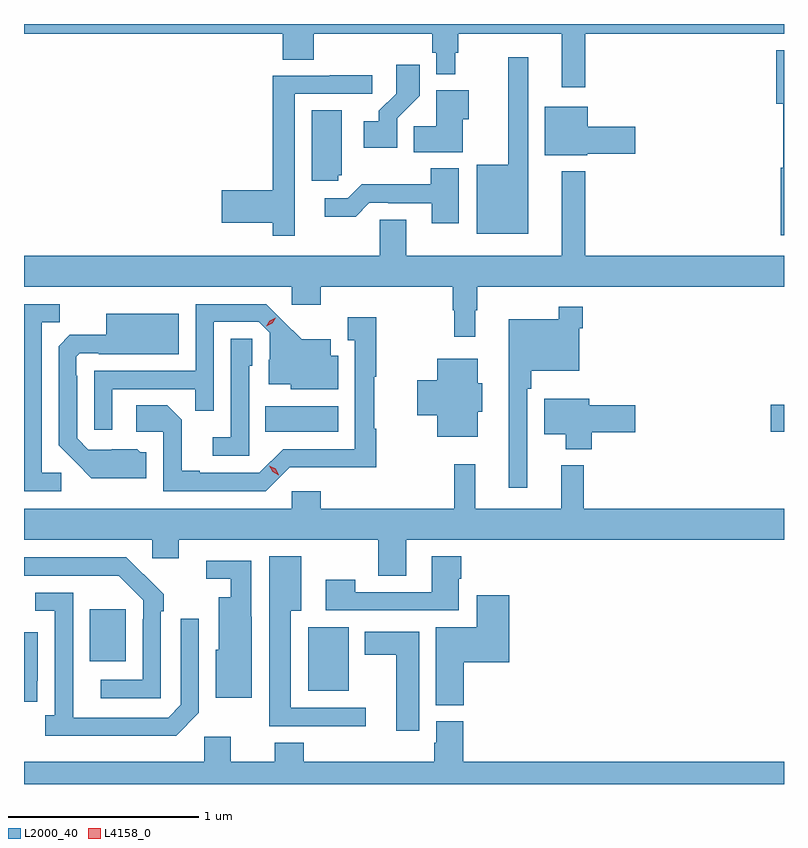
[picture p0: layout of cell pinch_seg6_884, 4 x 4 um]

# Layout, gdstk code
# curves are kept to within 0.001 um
import gdstk
lib = gdstk.Library(unit=1e-6, precision=1e-09)
def R(c, l, rs):  # rectangles x0, y0, x1, y1
    for r in rs: c.add(gdstk.rectangle(r[:2], r[2:], *l))
def P(c, l, *ps):  # polygons
    for p in ps: c.add(gdstk.Polygon(p, *l))
L2000_40 = (2000, 40)
L4158_0 = (4158, 0)

pinch_seg6_884 = lib.new_cell('pinch_seg6_884')
R(pinch_seg6_884, L2000_40, [(346.94,933.221,347.152,933.556), (345.791,933.377,345.979,933.652), (349.374,934.585,349.444,934.727), (346.714,934.586,347.098,934.72)])
P(pinch_seg6_884, L2000_40, [(348.397,936.68),(349.444,936.68),(349.444,936.731),(345.444,936.731),(345.444,936.68),(346.805,936.68),(346.805,936.544),(346.97,936.544),(346.97,936.68),(347.593,936.68),(347.593,936.579),(347.613,936.579),(347.613,936.467),(347.714,936.467),(347.714,936.579),(347.729,936.579),(347.729,936.68),(348.275,936.68),(348.275,936.399),(348.397,936.399)],
  [(349.444,936.592),(349.403,936.592),(349.403,936.312),(349.439,936.312),(349.439,935.974),(349.427,935.974),(349.427,935.619),(349.444,935.619)],
  [(348.097,936.556),(347.993,936.556),(347.993,935.989),(347.828,935.989),(347.828,935.627),(348.097,935.627)],
  [(347.409,936.235),(347.528,936.354),(347.528,936.517),(347.403,936.517),(347.403,936.365),(347.312,936.275),(347.312,936.22),(347.232,936.22),(347.232,936.08),(347.409,936.08)],
  [(346.87,935.838),(346.869,935.838),(346.869,936.363),(347.278,936.363),(347.278,936.462),(347.053,936.462),(347.053,936.459),(346.753,936.459),(346.753,935.855),(346.485,935.855),(346.485,935.684),(346.753,935.684),(346.753,935.616),(346.87,935.616)],
  [(347.752,936.23),(347.785,936.23),(347.785,936.382),(347.615,936.382),(347.615,936.194),(347.494,936.194),(347.494,936.056),(347.752,936.056)],
  [(348.408,936.047),(348.661,936.047),(348.661,936.189),(348.412,936.189),(348.412,936.295),(348.185,936.295),(348.185,936.041),(348.408,936.041)],
  [(347.097,935.934),(347.116,935.934),(347.116,936.278),(346.958,936.278),(346.958,935.907),(347.097,935.907)],
  [(347.731,935.971),(347.584,935.971),(347.584,935.887),(347.221,935.887),(347.148,935.814),(347.028,935.814),(347.028,935.717),(347.189,935.717),(347.262,935.79),(347.362,935.79),(347.362,935.787),(347.591,935.787),(347.591,935.682),(347.731,935.682)],
  [(347.818,935.225),(347.83,935.225),(347.83,935.348),(349.444,935.348),(349.444,935.512),(348.397,935.512),(348.397,935.956),(348.275,935.956),(348.275,935.512),(347.455,935.512),(347.455,935.702),(347.316,935.702),(347.316,935.512),(345.444,935.512),(345.444,935.348),(346.854,935.348),(346.854,935.253),(347.006,935.253),(347.006,935.348),(347.701,935.348),(347.701,935.225),(347.709,935.225),(347.709,935.085),(347.818,935.085)],
  [(345.909,934.809),(346.345,934.809),(346.345,934.696),(346.443,934.696),(346.443,935.163),(346.68,935.163),(346.737,935.106),(346.737,934.964),(346.733,934.964),(346.733,934.835),(346.848,934.835),(346.848,934.808),(347.098,934.808),(347.098,934.984),(347.059,934.984),(347.059,935.071),(346.907,935.071),(346.72,935.256),(346.347,935.256),(346.347,934.905),(345.813,934.905),(345.813,934.596),(345.909,934.596)],
  [(345.64,934.368),(345.537,934.368),(345.537,935.161),(345.633,935.161),(345.633,935.256),(345.444,935.256),(345.444,934.272),(345.64,934.272)],
  [(348.093,934.811),(348.113,934.811),(348.113,934.907),(348.366,934.907),(348.366,935.129),(348.386,935.129),(348.386,935.242),(348.258,935.242),(348.258,935.176),(347.996,935.176),(347.996,934.29),(348.093,934.29)],
  [(346.087,934.476),(346.056,934.476),(346.04,934.492),(345.783,934.491),(345.723,934.551),(345.723,934.88),(345.72,934.88),(345.72,934.98),(345.738,934.998),(345.838,934.998),(345.838,934.994),(346.258,934.994),(346.258,935.206),(345.878,935.206),(345.878,935.095),(345.686,935.095),(345.627,935.036),(345.627,934.514),(345.799,934.34),(346.087,934.34)],
  [(346.842,934.398),(347.297,934.397),(347.297,934.601),(347.287,934.601),(347.287,934.875),(347.297,934.875),(347.297,935.188),(347.147,935.188),(347.147,935.067),(347.186,935.067),(347.186,934.494),(346.809,934.494),(346.683,934.368),(346.369,934.368),(346.369,934.381),(346.275,934.381),(346.275,934.648),(346.199,934.724),(346.035,934.724),(346.035,934.584),(346.176,934.584),(346.176,934.272),(346.716,934.272)],
  [(346.629,934.932),(346.644,934.932),(346.644,935.075),(346.533,935.075),(346.533,934.555),(346.437,934.555),(346.437,934.458),(346.629,934.458)],
  [(347.833,934.689),(347.857,934.689),(347.857,934.839),(347.833,934.839),(347.833,934.969),(347.618,934.969),(347.618,934.856),(347.513,934.856),(347.513,934.673),(347.618,934.673),(347.618,934.559),(347.833,934.559)],
  [(348.431,934.582),(348.661,934.582),(348.661,934.724),(348.418,934.724),(348.418,934.759),(348.182,934.759),(348.182,934.571),(348.296,934.571),(348.296,934.493),(348.431,934.493)],
  [(347.455,934.016),(349.444,934.016),(349.444,934.18),(348.389,934.18),(348.389,934.408),(348.272,934.408),(348.272,934.18),(347.819,934.18),(347.819,934.414),(347.709,934.414),(347.709,934.18),(347.006,934.18),(347.006,934.273),(346.854,934.273),(346.854,934.18),(345.444,934.18),(345.444,934.016),(346.119,934.016),(346.119,933.918),(346.258,933.918),(346.258,934.016),(347.308,934.016),(347.308,933.826),(347.455,933.826)],
  [(347.242,933.132),(346.849,933.132),(346.849,933.644),(346.903,933.644),(346.903,933.931),(346.736,933.931),(346.736,933.035),(347.242,933.035)],
  [(347.731,933.811),(347.744,933.811),(347.744,933.931),(347.591,933.931),(347.591,933.741),(347.187,933.741),(347.187,933.805),(347.031,933.805),(347.031,933.645),(347.731,933.645)],
  [(346.164,933.641),(346.179,933.641),(346.179,933.729),(345.982,933.924),(345.444,933.924),(345.444,933.828),(345.943,933.828),(346.071,933.699),(346.071,933.599),(346.068,933.599),(346.068,933.279),(345.849,933.279),(345.849,933.183),(346.164,933.183)],
  [(346.642,933.611),(346.641,933.611),(346.641,933.906),(346.404,933.906),(346.404,933.81),(346.533,933.81),(346.533,933.715),(346.469,933.715),(346.469,933.438),(346.454,933.438),(346.454,933.185),(346.642,933.185)],
  [(346.365,933.105),(346.365,933.601),(346.269,933.601),(346.269,933.147),(346.203,933.081),(345.703,933.081),(345.702,933.738),(345.504,933.738),(345.504,933.642),(345.606,933.642),(345.606,933.094),(345.555,933.094),(345.555,932.984),(346.244,932.984)],
  [(347.759,933.371),(347.999,933.371),(347.999,933.724),(347.828,933.724),(347.828,933.556),(347.612,933.556),(347.612,933.145),(347.759,933.145)],
  [(347.524,933.532),(347.237,933.532),(347.237,933.41),(347.402,933.41),(347.402,933.012),(347.524,933.012)],
  [(345.515,933.274),(345.516,933.274),(345.516,933.529),(345.444,933.529),(345.444,933.165),(345.515,933.165)],
  [(349.444,932.848),(347.756,932.848),(347.756,933.06),(347.615,933.06),(347.615,932.949),(347.603,932.949),(347.603,932.848),(346.916,932.848),(346.916,932.947),(346.763,932.947),(346.763,932.848),(346.531,932.848),(346.531,932.98),(346.392,932.98),(346.392,932.848),(345.444,932.848),(345.444,932.731),(349.444,932.731)])
P(pinch_seg6_884, L4158_0, [(346.72,935.139),(346.72,935.14),(346.737,935.17),(346.768,935.185),(346.768,935.185),(346.768,935.185),(346.751,935.155),(346.72,935.139)],
  [(346.785,934.356),(346.754,934.375),(346.736,934.407),(346.736,934.407),(346.736,934.407),(346.768,934.389),(346.786,934.356),(346.786,934.356)])

lib.write_gds('pinch_seg6_884.gds')
